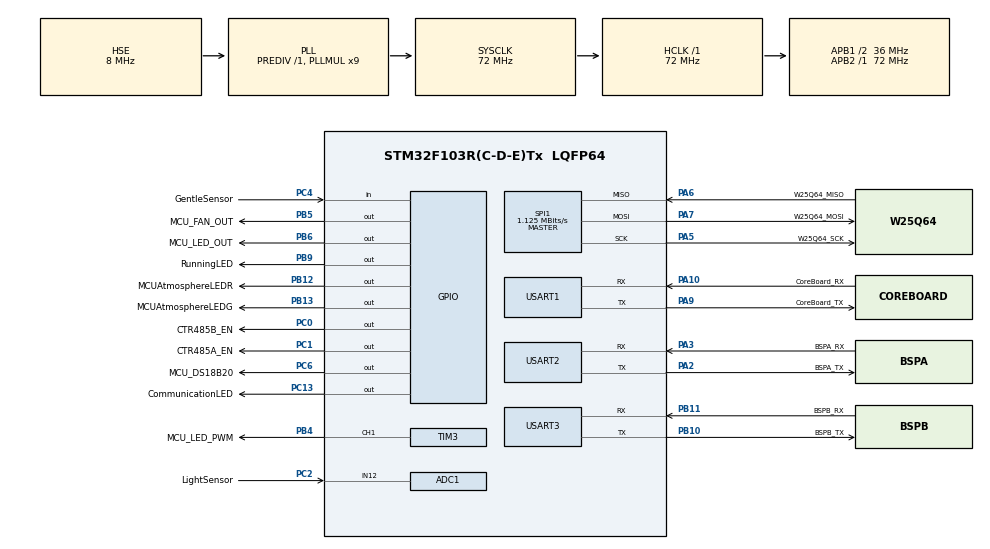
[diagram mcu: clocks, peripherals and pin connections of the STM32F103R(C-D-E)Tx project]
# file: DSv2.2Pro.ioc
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ADC1.Channel-0\#ChannelRegularConversion=ADC_CHANNEL_12
ADC1.Channel-1\#ChannelRegularConversion=ADC_CHANNEL_TEMPSENSOR
ADC1.ContinuousConvMode=ENABLE
ADC1.DataAlign=ADC_DATAALIGN_RIGHT
ADC1.DiscontinuousConvMode=DISABLE
ADC1.EnableAnalogWatchDog=false
ADC1.EnableRegularConversion=ENABLE
ADC1.ExternalTrigConv=ADC_SOFTWARE_START
ADC1.InjNumberOfConversion=0
ADC1.NbrOfConversion=2
ADC1.NbrOfConversionFlag=1
ADC1.Rank-0\#ChannelRegularConversion=1
ADC1.Rank-1\#ChannelRegularConversion=2
ADC1.SamplingTime-0\#ChannelRegularConversion=ADC_SAMPLETIME_239CYCLES_5
ADC1.SamplingTime-1\#ChannelRegularConversion=ADC_SAMPLETIME_239CYCLES_5
ADC1.ScanConvMode=ADC_SCAN_ENABLE
ADC1.master=1
Dma.ADC1.3.Direction=DMA_PERIPH_TO_MEMORY
Dma.ADC1.3.Instance=DMA1_Channel1
Dma.ADC1.3.MemDataAlignment=DMA_MDATAALIGN_WORD
Dma.ADC1.3.MemInc=DMA_MINC_ENABLE
Dma.ADC1.3.Mode=DMA_CIRCULAR
Dma.ADC1.3.PeriphDataAlignment=DMA_PDATAALIGN_WORD
Dma.ADC1.3.PeriphInc=DMA_PINC_DISABLE
Dma.ADC1.3.Priority=DMA_PRIORITY_LOW
Dma.Request0=USART1_RX
Dma.Request1=USART2_RX
Dma.Request2=USART3_RX
Dma.Request3=ADC1
Dma.USART1_RX.0.Direction=DMA_PERIPH_TO_MEMORY
Dma.USART1_RX.0.Instance=DMA1_Channel5
Dma.USART1_RX.0.MemDataAlignment=DMA_MDATAALIGN_BYTE
Dma.USART1_RX.0.MemInc=DMA_MINC_ENABLE
Dma.USART1_RX.0.Mode=DMA_NORMAL
Dma.USART1_RX.0.PeriphDataAlignment=DMA_PDATAALIGN_BYTE
Dma.USART1_RX.0.PeriphInc=DMA_PINC_DISABLE
Dma.USART1_RX.0.Priority=DMA_PRIORITY_LOW
Dma.USART2_RX.1.Direction=DMA_PERIPH_TO_MEMORY
Dma.USART2_RX.1.Instance=DMA1_Channel6
Dma.USART2_RX.1.MemDataAlignment=DMA_MDATAALIGN_BYTE
Dma.USART2_RX.1.MemInc=DMA_MINC_ENABLE
Dma.USART2_RX.1.Mode=DMA_NORMAL
Dma.USART2_RX.1.PeriphDataAlignment=DMA_PDATAALIGN_BYTE
Dma.USART2_RX.1.PeriphInc=DMA_PINC_DISABLE
Dma.USART2_RX.1.Priority=DMA_PRIORITY_LOW
Dma.USART3_RX.2.Direction=DMA_PERIPH_TO_MEMORY
Dma.USART3_RX.2.Instance=DMA1_Channel3
Dma.USART3_RX.2.MemDataAlignment=DMA_MDATAALIGN_BYTE
Dma.USART3_RX.2.MemInc=DMA_MINC_ENABLE
Dma.USART3_RX.2.Mode=DMA_NORMAL
Dma.USART3_RX.2.PeriphDataAlignment=DMA_PDATAALIGN_BYTE
Dma.USART3_RX.2.PeriphInc=DMA_PINC_DISABLE
Dma.USART3_RX.2.Priority=DMA_PRIORITY_LOW
Mcu.Family=STM32F1
Mcu.Name=STM32F103R(C-D-E)Tx
Mcu.Package=LQFP64
NVIC.ADC1_2_IRQn=true\:0\:0\:false\:true\:true\:10\:true
NVIC.DMA1_Channel1_IRQn=true\:0\:0\:false\:true\:true\:6\:false
NVIC.DMA1_Channel3_IRQn=true\:0\:0\:false\:true\:true\:7\:false
NVIC.DMA1_Channel5_IRQn=true\:0\:0\:false\:true\:true\:8\:false
NVIC.DMA1_Channel6_IRQn=true\:0\:0\:false\:true\:true\:9\:false
NVIC.PriorityGroup=NVIC_PRIORITYGROUP_4
NVIC.SPI1_IRQn=true\:0\:0\:false\:false\:true\:true
NVIC.TIM3_IRQn=true\:0\:0\:false\:false\:true\:true
NVIC.TIM4_IRQn=true\:0\:0\:false\:true\:true\:4\:true
NVIC.TIM5_IRQn=true\:0\:0\:false\:true\:true\:5\:true
NVIC.USART1_IRQn=true\:0\:0\:false\:true\:true\:1\:true
NVIC.USART2_IRQn=true\:0\:0\:false\:true\:true\:2\:true
NVIC.USART3_IRQn=true\:0\:0\:false\:true\:true\:3\:true
PA10.GPIO_Label=CoreBoard_RX
PA10.Mode=Asynchronous
PA10.Signal=USART1_RX
PA13.Mode=Serial_Wire
PA13.Signal=SYS_JTMS-SWDIO
PA14.Mode=Serial_Wire
PA14.Signal=SYS_JTCK-SWCLK
PA2.GPIO_Label=BSPA_TX
PA2.Mode=Asynchronous
PA2.Signal=USART2_TX
PA3.GPIO_Label=BSPA_RX
PA3.Mode=Asynchronous
PA3.Signal=USART2_RX
PA5.GPIO_Label=W25Q64_SCK
PA5.Mode=Full_Duplex_Master
PA5.Signal=SPI1_SCK
PA6.GPIO_Label=W25Q64_MISO
PA6.Mode=Full_Duplex_Master
PA6.Signal=SPI1_MISO
PA7.GPIO_Label=W25Q64_MOSI
PA7.Mode=Full_Duplex_Master
PA7.Signal=SPI1_MOSI
PA9.GPIO_Label=CoreBoard_TX
PA9.Mode=Asynchronous
PA9.Signal=USART1_TX
PB10.GPIO_Label=BSPB_TX
PB10.Mode=Asynchronous
PB10.Signal=USART3_TX
PB11.GPIO_Label=BSPB_RX
PB11.Mode=Asynchronous
PB11.Signal=USART3_RX
PB12.GPIO_Label=MCUAtmosphereLEDR
PB12.Signal=GPIO_Output
PB13.GPIO_Label=MCUAtmosphereLEDG
PB13.Signal=GPIO_Output
PB4.GPIO_Label=MCU_LED_PWM
PB4.Signal=S_TIM3_CH1
PB5.GPIO_Label=MCU_FAN_OUT
PB5.Signal=GPIO_Output
PB6.GPIO_Label=MCU_LED_OUT
PB6.Signal=GPIO_Output
PB9.GPIO_Label=RunningLED
PB9.Signal=GPIO_Output
PC0.GPIO_Label=CTR485B_EN
PC0.Signal=GPIO_Output
PC1.GPIO_Label=CTR485A_EN
PC1.Signal=GPIO_Output
PC13-TAMPER-RTC.GPIO_Label=CommunicationLED
PC13-TAMPER-RTC.Signal=GPIO_Output
PC2.GPIO_Label=LightSensor
PC2.Signal=ADCx_IN12
PC4.GPIO_Label=GentleSensor
PC4.GPIO_PuPd=GPIO_PULLUP
PC4.Signal=GPIO_Input
PC6.GPIO_Label=MCU_DS18B20
PC6.Signal=GPIO_Output
PD0-OSC_IN.Mode=HSE-External-Oscillator
PD0-OSC_IN.Signal=RCC_OSC_IN
PD1-OSC_OUT.Mode=HSE-External-Oscillator
PD1-OSC_OUT.Signal=RCC_OSC_OUT
ProjectManager.HeapSize=0x200
ProjectManager.StackSize=0x400
ProjectManager.TargetToolchain=EWARM
RCC.ADCPresc=RCC_ADCPCLK2_DIV6
RCC.AHBFreq_Value=72000000
RCC.APB1CLKDivider=RCC_HCLK_DIV2
RCC.APB1Freq_Value=36000000
RCC.APB1TimFreq_Value=72000000
RCC.APB2Freq_Value=72000000
RCC.APB2TimFreq_Value=72000000
RCC.HCLKFreq_Value=72000000
RCC.PLLMUL=RCC_PLL_MUL9
RCC.PLLSourceVirtual=RCC_PLLSOURCE_HSE
RCC.SYSCLKFreq_VALUE=72000000
RCC.SYSCLKSource=RCC_SYSCLKSOURCE_PLLCLK
RCC.USBFreq_Value=72000000
SH.ADCx_IN12.0=ADC1_IN12,IN12
SH.S_TIM3_CH1.0=TIM3_CH1,PWM Generation1 CH1
SPI1.BaudRatePrescaler=SPI_BAUDRATEPRESCALER_64
SPI1.CLKPhase=SPI_PHASE_1EDGE
SPI1.CLKPolarity=SPI_POLARITY_LOW
SPI1.CalculateBaudRate=1.125 MBits/s
SPI1.DataSize=SPI_DATASIZE_8BIT
SPI1.Direction=SPI_DIRECTION_2LINES
SPI1.Mode=SPI_MODE_MASTER
SPI1.VirtualType=VM_MASTER
TIM3.Channel-PWM\ Generation1\ CH1=TIM_CHANNEL_1
TIM3.OCFastMode_PWM-PWM\ Generation1\ CH1=TIM_OCFAST_DISABLE
TIM3.Period=4000-1
TIM3.Prescaler=72-1
TIM3.Pulse-PWM\ Generation1\ CH1=0
TIM4.Period=100-1
TIM4.Prescaler=72-1
TIM5.Period=1000-1
TIM5.Prescaler=72-1
USART1.VirtualMode=VM_ASYNC
USART2.VirtualMode=VM_ASYNC
USART3.VirtualMode=VM_ASYNC
VP_ADC1_TempSens_Input.Mode=IN-TempSens
VP_TIM4_VS_ClockSourceINT.Mode=Internal
VP_TIM5_VS_ClockSourceINT.Mode=Internal
board=DSv2.2Pro

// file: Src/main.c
/**
  ******************************************************************************
  * @file           : main.c
  * @brief          : Main program body
  ******************************************************************************
  ** This notice applies to any and all portions of this file
  * that are not between comment pairs USER CODE BEGIN and
  * USER CODE END. Other portions of this file, whether
  * inserted by the user or by software development tools
  * are owned by their respective copyright owners.
  *
  * COPYRIGHT(c) 2018 STMicroelectronics
  *
  * Redistribution and use in source and binary forms, with or without modification,
  * are permitted provided that the following conditions are met:
  *   1. Redistributions of source code must retain the above copyright notice,
  *      this list of conditions and the following disclaimer.
  *   2. Redistributions in binary form must reproduce the above copyright notice,
  *      this list of conditions and the following disclaimer in the documentation
  *      and/or other materials provided with the distribution.
  *   3. Neither the name of STMicroelectronics nor the names of its contributors
  *      may be used to endorse or promote products derived from this software
  *      without specific prior written permission.
  *
  * THIS SOFTWARE IS PROVIDED BY THE COPYRIGHT HOLDERS AND CONTRIBUTORS "AS IS"
  * AND ANY EXPRESS OR IMPLIED WARRANTIES, INCLUDING, BUT NOT LIMITED TO, THE
  * IMPLIED WARRANTIES OF MERCHANTABILITY AND FITNESS FOR A PARTICULAR PURPOSE ARE
  * DISCLAIMED. IN NO EVENT SHALL THE COPYRIGHT HOLDER OR CONTRIBUTORS BE LIABLE
  * FOR ANY DIRECT, INDIRECT, INCIDENTAL, SPECIAL, EXEMPLARY, OR CONSEQUENTIAL
  * DAMAGES (INCLUDING, BUT NOT LIMITED TO, PROCUREMENT OF SUBSTITUTE GOODS OR
  * SERVICES; LOSS OF USE, DATA, OR PROFITS; OR BUSINESS INTERRUPTION) HOWEVER
  * CAUSED AND ON ANY THEORY OF LIABILITY, WHETHER IN CONTRACT, STRICT LIABILITY,
  * OR TORT (INCLUDING NEGLIGENCE OR OTHERWISE) ARISING IN ANY WAY OUT OF THE USE
  * OF THIS SOFTWARE, EVEN IF ADVISED OF THE POSSIBILITY OF SUCH DAMAGE.
  *
  ******************************************************************************
  */
#include "main.h"
#include "stm32f1xx_hal.h"
#include "adc.h"
#include "dma.h"
#include "spi.h"
#include "tim.h"
#include "usart.h"
#include "gpio.h"

/* USER CODE BEGIN Includes */
#include "ds_DataTransmissionLayer.h"
#include "ds_ProtocolLayer.h"
#include "Common.h"
#include "ds_gentlesensor.h"
#include "ds_log.h"
#include "ds_FillLight.h"
/* USER CODE END Includes */

/* USER CODE BEGIN PV */
/* Private variables ---------------------------------------------------------*/
#define     TEMPUTERALARMVALUE		0x04FF			//温度报警阈值
#define     LIGHTHELPVALUE			0x04FF			//常亮补光灯阈值
uint16_t gLogReportCnt;
uint8_t  gLogReportFlag;
uint8_t  gLEDsCarFlag;
uint8_t  gCarComingFlag;

uint8_t		gPWMLedFlag;
uint8_t     gTIM5PWMFlag;
uint8_t     gTIM5PWMCnt;
uint16_t    gPWMValue;

uint32_t  gADCBuffer[10];
uint32_t  gTempterValue;
uint32_t  gLightValue;
uint32_t  gADCTimCnt;
uint8_t   gADCTimCntFlag;

uint16_t  gLEDCnt;
uint8_t  gLEDFlag;

//extern USARTRECIVETYPE     CoreBoardUsartType;
GPIOSTATUSDETECTION gGentleSensorStatusDetection;

/* USER CODE END PV */

void SystemClock_Config(void);
static void MX_NVIC_Init(void);

/* USER CODE BEGIN PFP */
/* Private function prototypes -----------------------------------------------*/
static void CheckLightAndTemperture(void);
/* USER CODE END PFP */

int main(void)
{

  /* MCU Configuration----------------------------------------------------------*/

  /* Reset of all peripherals, Initializes the Flash interface and the Systick. */
  HAL_Init();

  /* Configure the system clock */
  SystemClock_Config();

  /* Initialize all configured peripherals */
  MX_GPIO_Init();
  MX_DMA_Init();
  MX_ADC1_Init();
  MX_SPI1_Init();
  MX_TIM4_Init();
  MX_TIM5_Init();
  MX_USART1_UART_Init();
  MX_USART2_UART_Init();
  MX_USART3_UART_Init();
  MX_TIM3_Init();

  /* Initialize interrupts */
  MX_NVIC_Init();
  /* USER CODE BEGIN 2 */
  HAL_TIM_Base_Start_IT(&htim4);
  HAL_TIM_Base_Start_IT(&htim5);
  HAL_TIM_PWM_Start(&htim3,TIM_CHANNEL_1);
  HAL_ADC_Start_DMA(&hadc1,(uint32_t*)&gADCBuffer,10);

  DS_LED_Init();
  DS_GentleSensorInit();
  DS_CoreBoardProtocolInit();
  DS_LeftDoorBoardProtocolInit();
  DS_RightDoorBoardProtocolInit();

  /* USER CODE END 2 */

  /* Infinite loop */
  while (1)
  {

  /* USER CODE BEGIN 3 */
	  /*处理来自核心板的数据*/
	DS_HandingUartDataFromCoreBoard();
	DS_HandingCoreBoardRequest();

	/*处理来自闸机A的数据*/
	DS_HandingUartDataFromLeftDoorBoard();
	DS_HandingLeftDoorBoardRequest();
	DS_SendAckData();
	  /*处理来自道闸B的数据*/
	DS_HandingUartDataFromRightDoorBoard();
	DS_HandingRightDoorBoardRequest();

	DS_SendAckData();
	DS_GentleSensorCheck();
	/*检测温度和光照*/
	if(gADCTimCntFlag)
	{
	  gADCTimCntFlag = 0;
	  CheckLightAndTemperture();
	}
	/*PWM补光灯控制*/
	if(gCarComingFlag)
	{
	  if (gPWMValue > 3800)
	  {
	    gPWMValue = 3900;
	  }
	  DS_SetLedPwmValue(gPWMValue);
	}
	else
	{
	  DS_SetLedPwmValue(0);
	}
	/*上报时间到的时候，进行日志上报*/
	if (gLogReportFlag)
	{
	  DS_ReportLogInfo();
	  gLogReportFlag = 0;
	}
	/* 氛围灯控制 */
	if (gLEDFlag)
	{
	  gLEDFlag = 0;
	  DS_LEDS_TEST();
	}
  }
  /* USER CODE END 3 */

}

void SystemClock_Config(void)
{

  RCC_OscInitTypeDef RCC_OscInitStruct;
  RCC_ClkInitTypeDef RCC_ClkInitStruct;
  RCC_PeriphCLKInitTypeDef PeriphClkInit;

    /**Initializes the CPU, AHB and APB busses clocks
    */
  RCC_OscInitStruct.OscillatorType = RCC_OSCILLATORTYPE_HSE;
  RCC_OscInitStruct.HSEState = RCC_HSE_ON;
  RCC_OscInitStruct.HSEPredivValue = RCC_HSE_PREDIV_DIV1;
  RCC_OscInitStruct.HSIState = RCC_HSI_ON;
  RCC_OscInitStruct.PLL.PLLState = RCC_PLL_ON;
  RCC_OscInitStruct.PLL.PLLSource = RCC_PLLSOURCE_HSE;
  RCC_OscInitStruct.PLL.PLLMUL = RCC_PLL_MUL9;
  if (HAL_RCC_OscConfig(&RCC_OscInitStruct) != HAL_OK)
  {
    _Error_Handler(__FILE__, __LINE__);
  }

    /**Initializes the CPU, AHB and APB busses clocks
    */
  RCC_ClkInitStruct.ClockType = RCC_CLOCKTYPE_HCLK|RCC_CLOCKTYPE_SYSCLK
                              |RCC_CLOCKTYPE_PCLK1|RCC_CLOCKTYPE_PCLK2;
  RCC_ClkInitStruct.SYSCLKSource = RCC_SYSCLKSOURCE_PLLCLK;
  RCC_ClkInitStruct.AHBCLKDivider = RCC_SYSCLK_DIV1;
  RCC_ClkInitStruct.APB1CLKDivider = RCC_HCLK_DIV2;
  RCC_ClkInitStruct.APB2CLKDivider = RCC_HCLK_DIV1;

  if (HAL_RCC_ClockConfig(&RCC_ClkInitStruct, FLASH_LATENCY_2) != HAL_OK)
  {
    _Error_Handler(__FILE__, __LINE__);
  }

  PeriphClkInit.PeriphClockSelection = RCC_PERIPHCLK_ADC;
  PeriphClkInit.AdcClockSelection = RCC_ADCPCLK2_DIV6;
  if (HAL_RCCEx_PeriphCLKConfig(&PeriphClkInit) != HAL_OK)
  {
    _Error_Handler(__FILE__, __LINE__);
  }

    /**Configure the Systick interrupt time
    */
  HAL_SYSTICK_Config(HAL_RCC_GetHCLKFreq()/1000);

    /**Configure the Systick
    */
  HAL_SYSTICK_CLKSourceConfig(SYSTICK_CLKSOURCE_HCLK);

  /* SysTick_IRQn interrupt configuration */
  HAL_NVIC_SetPriority(SysTick_IRQn, 0, 0);
}

/**
  * @brief NVIC Configuration.
  * @retval None
  */
static void MX_NVIC_Init(void)
{
  /* USART1_IRQn interrupt configuration */
  HAL_NVIC_SetPriority(USART1_IRQn, 0, 0);
  HAL_NVIC_EnableIRQ(USART1_IRQn);
  /* USART2_IRQn interrupt configuration */
  HAL_NVIC_SetPriority(USART2_IRQn, 0, 0);
  HAL_NVIC_EnableIRQ(USART2_IRQn);
  /* USART3_IRQn interrupt configuration */
  HAL_NVIC_SetPriority(USART3_IRQn, 0, 0);
  HAL_NVIC_EnableIRQ(USART3_IRQn);
  /* TIM4_IRQn interrupt configuration */
  HAL_NVIC_SetPriority(TIM4_IRQn, 0, 0);
  HAL_NVIC_EnableIRQ(TIM4_IRQn);
  /* TIM5_IRQn interrupt configuration */
  HAL_NVIC_SetPriority(TIM5_IRQn, 0, 0);
  HAL_NVIC_EnableIRQ(TIM5_IRQn);
  /* DMA1_Channel1_IRQn interrupt configuration */
  HAL_NVIC_SetPriority(DMA1_Channel1_IRQn, 0, 0);
  HAL_NVIC_EnableIRQ(DMA1_Channel1_IRQn);
  /* DMA1_Channel3_IRQn interrupt configuration */
  HAL_NVIC_SetPriority(DMA1_Channel3_IRQn, 0, 0);
  HAL_NVIC_EnableIRQ(DMA1_Channel3_IRQn);
  /* DMA1_Channel5_IRQn interrupt configuration */
  HAL_NVIC_SetPriority(DMA1_Channel5_IRQn, 0, 0);
  HAL_NVIC_EnableIRQ(DMA1_Channel5_IRQn);
  /* DMA1_Channel6_IRQn interrupt configuration */
  HAL_NVIC_SetPriority(DMA1_Channel6_IRQn, 0, 0);
  HAL_NVIC_EnableIRQ(DMA1_Channel6_IRQn);
  /* ADC1_2_IRQn interrupt configuration */
  HAL_NVIC_SetPriority(ADC1_2_IRQn, 0, 0);
  HAL_NVIC_EnableIRQ(ADC1_2_IRQn);
}

/* USER CODE BEGIN 4 */
void HAL_TIM_PeriodElapsedCallback(TIM_HandleTypeDef *htim)
{
	/* Prevent unused argument(s) compilation warning */
	UNUSED(htim);
	/* NOTE : This function Should not be modified, when the callback is needed,
	          the __HAL_TIM_PeriodElapsedCallback could be implemented in the user file
	       */
	/* 4ms */
	if (htim3.Instance == htim->Instance)
	{

	}

	/* 0.1ms */
	if (htim4.Instance == htim->Instance)
	{
		/* 添加地感处理 */
		gGentleSensorStatusDetection.GpioCurrentReadVal = HAL_GPIO_ReadPin(GentleSensor_GPIO_Port, GentleSensor_Pin);
		if (0 == gGentleSensorStatusDetection.GpioCurrentReadVal && 0 == gGentleSensorStatusDetection.GpioLastReadVal)
		{
			if (0 == gGentleSensorStatusDetection.GpioCheckedFlag)
			{
				gGentleSensorStatusDetection.GpioFilterCnt++;
				if (gGentleSensorStatusDetection.GpioFilterCnt > gGentleSensorStatusDetection.GpioFilterCntSum)
				{
					gGentleSensorStatusDetection.GpioStatusVal		= 1;
					gGentleSensorStatusDetection.GpioFilterCnt		= 0;
					gGentleSensorStatusDetection.GpioCheckedFlag	= 1;
					gCarComingFlag = 1;
					DS_UpgentleStatusInfoLog(1);
					gPWMLedFlag = 1;
				}
			}
		}
		else
		{
			gGentleSensorStatusDetection.GpioCheckedFlag	= 0;
			gGentleSensorStatusDetection.GpioFilterCnt		= 0;
			gGentleSensorStatusDetection.GpioStatusVal		= 0;
			gGentleSensorStatusDetection.GpioSendDataFlag	= 1;
			gCarComingFlag = 0;
			DS_UpgentleStatusInfoLog(0);
			gPWMLedFlag = 0;
		}
		gGentleSensorStatusDetection.GpioLastReadVal = gGentleSensorStatusDetection.GpioCurrentReadVal;

	}

	/* 1ms */
	if (htim5.Instance == htim->Instance)
	{
		gADCTimCnt++;
		if (gADCTimCnt > 60000)
		{
			gADCTimCntFlag = 1;
			gADCTimCnt = 0;
		}
		if (gGentleSensorStatusDetection.GpioValidLogicTimeCnt > 80)
		{
			gGentleSensorStatusDetection.GpioValidLogicTimeCnt--;
		}

		/*上报日志 6s 一次*/
		gLogReportCnt++;
		if (gLogReportCnt > 5000)
		{
			gLogReportFlag = 1;
			gLogReportCnt = 0;
		}

		/*来车时每秒钟闪烁五次，无车时保持常亮*/
		gLEDCnt++;
		if (gLEDCnt > 200)
		{
			gLEDFlag = 1;
			gLEDCnt = 0;
		}

		/*PWM控制 */
		gTIM5PWMCnt++;
		if (gTIM5PWMCnt > 3)
		{
			if (gCarComingFlag)
			{
				gPWMValue += 2;
				gTIM5PWMFlag = 1;
			}
			else
			{
				gPWMValue = 1800;
				gTIM5PWMFlag = 0;

			}
			gTIM5PWMCnt = 0;
		}
	}
}

void CheckLightAndTemperture(void)
{
	uint8_t i;
	for (i = 0; i < 10;)
	{
		gLightValue += gADCBuffer[i++];
		gTempterValue += gADCBuffer[i++];
	}
	gLightValue /= 5;
	gTempterValue /= 5;
	DS_UpLightInfoLog(gLightValue);
	DS_UpTemInfoLog(gTempterValue);

	if (gLightValue < LIGHTHELPVALUE)
	{
		DS_UpFlashLightInfoLog(1);
		/*此处添加打开灯的控制*/
	}
	else
	{
		DS_UpFlashLightInfoLog(0);
	}

	if (gTempterValue > TEMPUTERALARMVALUE)
	{
		/* 温度过高开启散热 */
		DS_FAN_OUT_ON();
		DS_UpFanStatusInfoLog(1);
	}
	else
	{
		/*温度正常，关闭散热*/
		DS_FAN_OUT_OFF();
		DS_UpFanStatusInfoLog(0);
	}
	return ;
}
/* USER CODE END 4 */

void _Error_Handler(char *file, int line)
{
  while(1)
  {
  }
}

/************************ (C) COPYRIGHT STMicroelectronics *****END OF FILE****/
